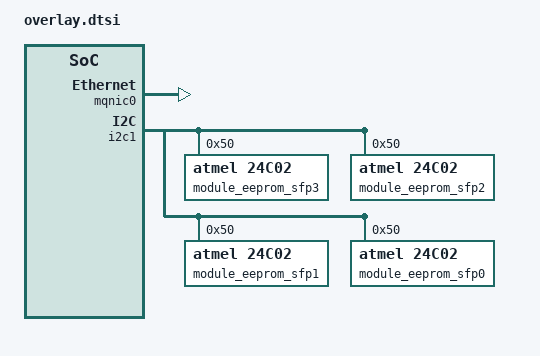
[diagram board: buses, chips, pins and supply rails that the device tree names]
/dts-v1/;
/plugin/;
/ {
	fragment@0 {
		target = <&fpga_full>;
		__overlay__ {
			#address-cells = <2>;
			#size-cells = <2>;
			firmware-name = "fpga.bin";
		};
	};
	fragment@1 {
		target = <&amba>;
		__overlay__ {
			#address-cells = <2>;
			#size-cells = <2>;

			afi0: afi0 {
				compatible = "xlnx,afi-fpga";
				config-afi =
					// PL-to-PS AXI
					// 0: 128-bit, 1: 64-bit, 2: 32-bit
					<0 0>, // AFIFM0_RDCTRL [1:0] S_AXI_HPC0_FPD
					<1 0>, // AFIFM0_WRCTRL [1:0] S_AXI_HPC0_FPD
					<2 0>, // AFIFM1_RDCTRL [1:0] S_AXI_HPC1_FPD
					<3 0>, // AFIFM1_WRCTRL [1:0] S_AXI_HPC1_FPD
					<4 0>, // AFIFM2_RDCTRL [1:0] S_AXI_HP0_FPD
					<5 0>, // AFIFM2_WRCTRL [1:0] S_AXI_HP0_FPD
					<6 0>, // AFIFM3_RDCTRL [1:0] S_AXI_HP1_FPD
					<7 0>, // AFIFM3_WRCTRL [1:0] S_AXI_HP1_FPD
					<8 0>, // AFIFM4_RDCTRL [1:0] S_AXI_HP2_FPD
					<9 0>, // AFIFM4_WRCTRL [1:0] S_AXI_HP2_FPD
					<10 0>, // AFIFM5_RDCTRL [1:0] S_AXI_HP3_FPD
					<11 0>, // AFIFM5_WRCTRL [1:0] S_AXI_HP3_FPD
					<12 0>, // AFIFM6_RDCTRL [1:0] S_AXI_LPD
					<13 0>, // AFIFM6_WRCTRL [1:0] S_AXI_LPD
					// PS-to-PL AXI
					// 0: 32-bit, 1: 64-bit, 2: 128-bit
					<14 0x000>, // FPD_SLCR [9:8] AFIFS0 M_AXI_HPM0_FPD [11:10] AFIFS1 M_AXI_HPM1_FPD
					<15 0x000>; // LPD_SLCR [9:8] AFIFS2 M_AXI_HPM0_LPD
			};

			mqnic0: ethernet@a0000000 {
				compatible = "corundum,mqnic";
				reg = <0x0 0xa0000000 0x0 0x1000000>,
				      <0x0 0xa8000000 0x0 0x1000000>;
				reg-names = "csr", "app";
				interrupt-parent = <&gic>;
				interrupts = <0x0 0x59 0x1>, <0x0 0x5a 0x1>, <0x0 0x5b 0x1>,
				             <0x0 0x5c 0x1>;
				assigned-clocks = <&zynqmp_clk 71>, // PL0_REF
					<&si570_2 0>; // MGT SI570 (U56)
				assigned-clock-rates = <300000000>,
					<156250000>;
				resets = <&zynqmp_reset 116>; // ZYNQMP_RESET_PS_PL0
				reset-names = "reset";

				nvmem-cells = <&macaddress>;
				nvmem-cell-names = "mac-address";

				/* NOTE: The nvmem-cells property provides us with a base MAC
				 * address. We increment its last byte (default) by 0x1. And we
				 * mark the derived address as "locally administrated". The
				 * result is used to derive MAC addresses for mqnic interfaces.
				 */
				mac-address-increment = <0x1>;
				mac-address-local;

				module-eeproms = <&module_eeprom_sfp0>, <&module_eeprom_sfp1>,
				                 <&module_eeprom_sfp2>, <&module_eeprom_sfp3>;
			};
		};
	};
	fragment@2 {
		target = <&eeprom>;
		__overlay__ {
			#address-cells = <1>;
			#size-cells = <1>;

			macaddress: macaddress@20 {
				/* NOTE: On Xilinx Zynq boards there usually is an
				 * EEPROM with a MAC address for one of the PS GEMs at
				 * offset 0x20. So we take that address as our base
				 * address.
				 */
				reg = <0x20 0x06>;
			};
		};
	};
	fragment@3 {
		target = <&i2c1>;
		__overlay__ {
			i2c-mux@75 {
				i2c@4 {
					#address-cells = <1>;
					#size-cells = <0>;
					module_eeprom_sfp3: eeprom@50 {
						compatible = "atmel,24c02";
						reg = <0x50>;
					};
				};
				i2c@5 {
					#address-cells = <1>;
					#size-cells = <0>;
					module_eeprom_sfp2: eeprom@50 {
						compatible = "atmel,24c02";
						reg = <0x50>;
					};
				};
				i2c@6 {
					#address-cells = <1>;
					#size-cells = <0>;
					module_eeprom_sfp1: eeprom@50 {
						compatible = "atmel,24c02";
						reg = <0x50>;
					};
				};
				i2c@7 {
					#address-cells = <1>;
					#size-cells = <0>;
					module_eeprom_sfp0: eeprom@50 {
						compatible = "atmel,24c02";
						reg = <0x50>;
					};
				};
			};
		};
	};
};
